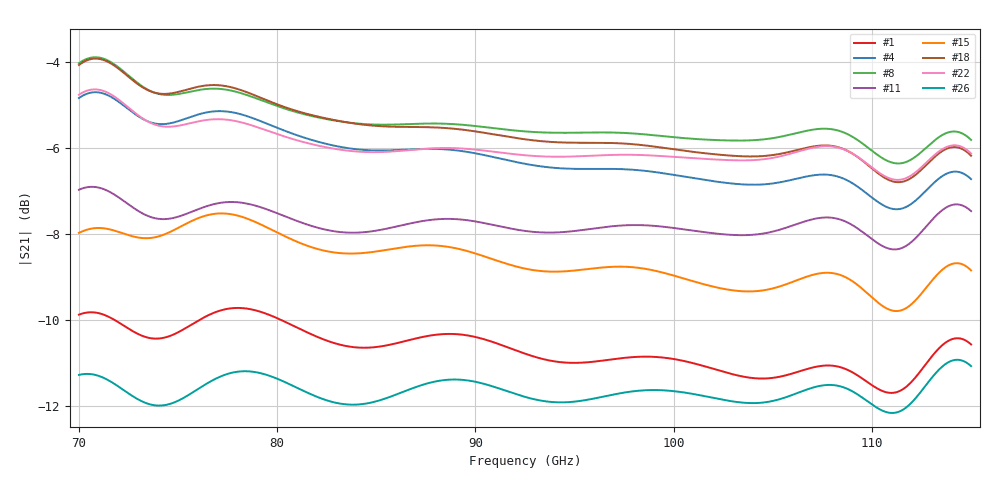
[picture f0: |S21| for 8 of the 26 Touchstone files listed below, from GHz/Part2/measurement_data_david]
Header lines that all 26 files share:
# Hz S RI R 1.000000
! Metas.Vna.Tools, 2.4.7898.19887
! Metas.Vna.Data, 2.4.7898.19873
! FREQ  re:S1,1  im:S1,1  re:S2,1  im:S2,1  re:S1,2  im:S1,2  re:S2,2  im:S2,2
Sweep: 70 GHz to 115 GHz
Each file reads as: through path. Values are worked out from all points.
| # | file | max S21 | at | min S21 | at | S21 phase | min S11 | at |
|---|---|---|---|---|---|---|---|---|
| 1 | Polarisator_30deg_time_gated_bp_c50ps_s500ps_d100ps.s2p | -9.72 dB | 78.02 GHz | -11.7 dB | 111 GHz | 25 deg at 92.5 GHz | -60.6 dB | 91.2 GHz |
| 2 | Polarisator_40deg_time_gated_bp_c50ps_s500ps_d100ps.s2p | -7.56 dB | 77.54 GHz | -9.7 dB | 111.1 GHz | 35 deg at 92.5 GHz | -60.2 dB | 91.2 GHz |
| 3 | Polarisator_50deg_time_gated_bp_c50ps_s500ps_d100ps.s2p | -5.92 dB | 70.8 GHz | -8.4 dB | 111.2 GHz | 45 deg at 92.5 GHz | -60.1 dB | 91.2 GHz |
| 4 | Polarisator_60deg_time_gated_bp_c50ps_s500ps_d100ps.s2p | -4.69 dB | 70.84 GHz | -7.4 dB | 111.2 GHz | 55 deg at 92.5 GHz | -60.1 dB | 91.2 GHz |
| 5 | Polarisator_70deg_time_gated_bp_c50ps_s500ps_d100ps.s2p | -3.92 dB | 70.84 GHz | -6.7 dB | 111.3 GHz | 65 deg at 92.5 GHz | -60.2 dB | 91.2 GHz |
| 6 | Polarisator_80deg_time_gated_bp_c50ps_s500ps_d100ps.s2p | -3.55 dB | 70.86 GHz | -6.4 dB | 111.3 GHz | 76 deg at 92.5 GHz | -60.5 dB | 91.2 GHz |
| 7 | Polarisator_90deg_time_gated_bp_c50ps_s500ps_d100ps.s2p | -3.54 dB | 70.84 GHz | -6.3 dB | 111.3 GHz | 86 deg at 92.5 GHz | -60.7 dB | 91.2 GHz |
| 8 | Polarisator_100deg_time_gated_bp_c50ps_s500ps_d100ps.s2p | -3.88 dB | 70.82 GHz | -6.4 dB | 111.3 GHz | 97 deg at 92.5 GHz | -60.7 dB | 91.2 GHz |
| 9 | Polarisator_110deg_time_gated_bp_c50ps_s500ps_d100ps.s2p | -4.54 dB | 70.8 GHz | -6.8 dB | 111.3 GHz | 106 deg at 92.5 GHz | -60.8 dB | 91.2 GHz |
| 10 | Polarisator_120deg_time_gated_bp_c50ps_s500ps_d100ps.s2p | -5.55 dB | 70.72 GHz | -7.4 dB | 111.2 GHz | 117 deg at 92.5 GHz | -60.4 dB | 91.2 GHz |
| 11 | Polarisator_130deg_time_gated_bp_c50ps_s500ps_d100ps.s2p | -6.90 dB | 70.66 GHz | -8.4 dB | 111.1 GHz | 127 deg at 92.5 GHz | -60.1 dB | 91.2 GHz |
| 12 | Polarisator_140deg_time_gated_bp_c50ps_s500ps_d100ps.s2p | -8.67 dB | 114.3 GHz | -9.8 dB | 111.1 GHz | 137 deg at 92.5 GHz | -60.4 dB | 91.2 GHz |
| 13 | Polarisator_150deg_time_gated_bp_c50ps_s500ps_d100ps.s2p | -10.80 dB | 114.3 GHz | -12.1 dB | 111.1 GHz | 147 deg at 92.5 GHz | -60.6 dB | 91.2 GHz |
| 14 | Polarisator_210deg_time_gated_bp_c50ps_s500ps_d100ps.s2p | -9.77 dB | 77.88 GHz | -11.8 dB | 111 GHz | 25 deg at 92.5 GHz | -60.9 dB | 91.2 GHz |
| 15 | Polarisator_220deg_time_gated_bp_c50ps_s500ps_d100ps.s2p | -7.52 dB | 77.18 GHz | -9.8 dB | 111.2 GHz | 36 deg at 92.5 GHz | -60.5 dB | 91.2 GHz |
| 16 | Polarisator_230deg_time_gated_bp_c50ps_s500ps_d100ps.s2p | -5.84 dB | 70.82 GHz | -8.3 dB | 111.1 GHz | 46 deg at 92.5 GHz | -60.5 dB | 91.2 GHz |
| 17 | Polarisator_240deg_time_gated_bp_c50ps_s500ps_d100ps.s2p | -4.65 dB | 70.82 GHz | -7.4 dB | 111.3 GHz | 55 deg at 92.5 GHz | -60.3 dB | 91.2 GHz |
| 18 | Polarisator_250deg_time_gated_bp_c50ps_s500ps_d100ps.s2p | -3.91 dB | 70.84 GHz | -6.8 dB | 111.3 GHz | 65 deg at 92.5 GHz | -60.5 dB | 91.18 GHz |
| 19 | Polarisator_260deg_time_gated_bp_c50ps_s500ps_d100ps.s2p | -3.57 dB | 70.84 GHz | -6.4 dB | 111.4 GHz | 76 deg at 92.5 GHz | -60.8 dB | 91.18 GHz |
| 20 | Polarisator_270deg_time_gated_bp_c50ps_s500ps_d100ps.s2p | -3.60 dB | 70.86 GHz | -6.3 dB | 111.4 GHz | 86 deg at 92.5 GHz | -60.8 dB | 91.2 GHz |
| 21 | Polarisator_280deg_time_gated_bp_c50ps_s500ps_d100ps.s2p | -3.96 dB | 70.84 GHz | -6.4 dB | 111.4 GHz | 96 deg at 92.5 GHz | -60.8 dB | 91.2 GHz |
| 22 | Polarisator_290deg_time_gated_bp_c50ps_s500ps_d100ps.s2p | -4.63 dB | 70.8 GHz | -6.7 dB | 111.3 GHz | 107 deg at 92.5 GHz | -60.7 dB | 91.2 GHz |
| 23 | Polarisator_300deg_time_gated_bp_c50ps_s500ps_d100ps.s2p | -5.63 dB | 70.76 GHz | -7.4 dB | 111.2 GHz | 117 deg at 92.5 GHz | -60.4 dB | 91.2 GHz |
| 24 | Polarisator_310deg_time_gated_bp_c50ps_s500ps_d100ps.s2p | -7.03 dB | 70.66 GHz | -8.5 dB | 111.2 GHz | 127 deg at 92.5 GHz | -60.3 dB | 91.2 GHz |
| 25 | Polarisator_320deg_time_gated_bp_c50ps_s500ps_d100ps.s2p | -8.85 dB | 114.3 GHz | -10.0 dB | 111.1 GHz | 137 deg at 92.5 GHz | -60.0 dB | 91.18 GHz |
| 26 | Polarisator_330deg_time_gated_bp_c50ps_s500ps_d100ps.s2p | -10.93 dB | 114.3 GHz | -12.2 dB | 111 GHz | 147 deg at 92.5 GHz | -60.7 dB | 91.18 GHz |
